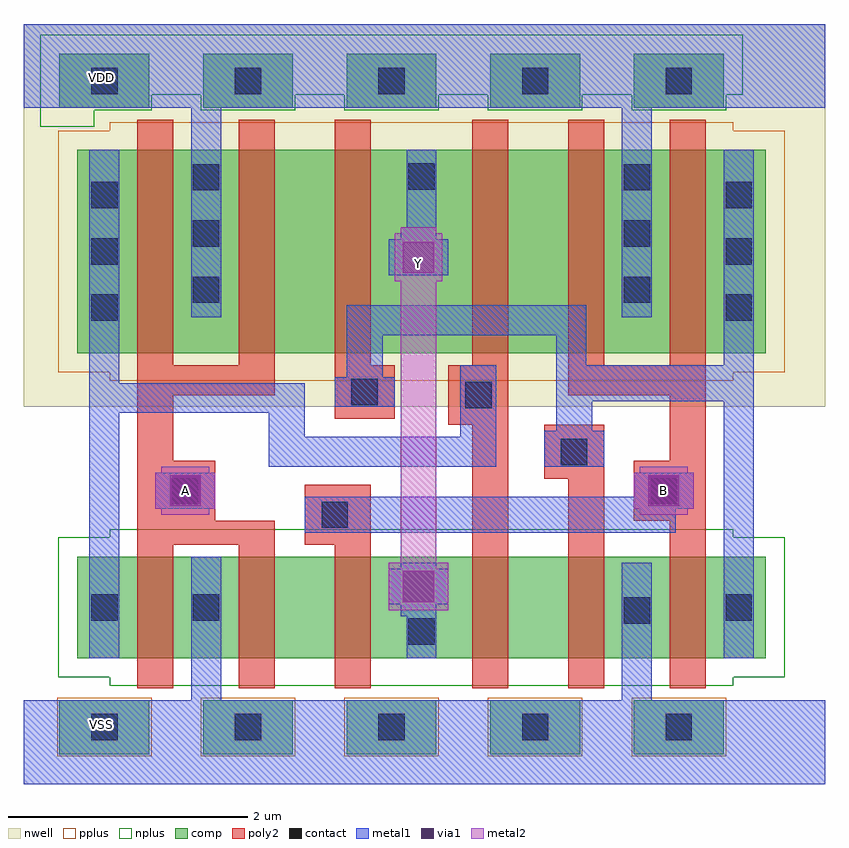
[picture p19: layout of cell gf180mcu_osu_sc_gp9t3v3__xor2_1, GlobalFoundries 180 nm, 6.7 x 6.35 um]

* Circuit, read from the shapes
.subckt gf180mcu_osu_sc_gp9t3v3__xor2_1 A B VDD VSS Y
XM1 VSS A n1 VSS nfet_03v3 w=0.85u l=0.3u
XM2 n2 A VSS VSS nfet_03v3 w=0.85u l=0.3u
XM3 Y B n2 VSS nfet_03v3 w=0.85u l=0.3u
XM4 n3 n1 Y VSS nfet_03v3 w=0.85u l=0.3u
XM5 VSS n4 n3 VSS nfet_03v3 w=0.85u l=0.3u
XM6 n4 B VSS VSS nfet_03v3 w=0.85u l=0.3u
XM7 VDD A n1 VDD pfet_03v3 w=1.7u l=0.3u
XM8 n5 A VDD VDD pfet_03v3 w=1.7u l=0.3u
XM9 Y n4 n5 VDD pfet_03v3 w=1.7u l=0.3u
XM10 n6 n1 Y VDD pfet_03v3 w=1.7u l=0.3u
XM11 VDD B n6 VDD pfet_03v3 w=1.7u l=0.3u
XM12 n4 B VDD VDD pfet_03v3 w=1.7u l=0.3u
.ends

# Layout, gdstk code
import gdstk
lib = gdstk.Library(unit=1e-6, precision=1e-09)
def R(c, l, rs):  # rectangles x0, y0, x1, y1
    for r in rs: c.add(gdstk.rectangle(r[:2], r[2:], *l))
def A(c, l, x, y, w, h, nx, ny, dx, dy):  # array of equal rectangles
    R(c, l, [(x+i*dx, y+j*dy, x+i*dx+w, y+j*dy+h) for i in range(nx) for j in range(ny)])
nwell = (21, 0)
comp = (22, 0)
poly2 = (30, 0)
pplus = (31, 0)
nplus = (32, 0)
contact = (33, 0)
metal1 = (34, 0)
via1 = (35, 0)
metal2 = (36, 0)

gf180mcu_osu_sc_gp9t3v3_ = lib.new_cell('gf180mcu_osu_sc_gp9t3v3__xor2_1')
R(gf180mcu_osu_sc_gp9t3v3_, nwell, [(0,3.15,6.7,6.35)])
A(gf180mcu_osu_sc_gp9t3v3_, comp, 0.3, 0.25, 0.75, 0.45, 5, 2, 1.2, 5.4)
R(gf180mcu_osu_sc_gp9t3v3_, comp, [(0.45,1.05,6.2,1.9), (0.45,3.6,6.2,5.3)])
R(gf180mcu_osu_sc_gp9t3v3_, poly2, [(0.95,0.8,1.25,2), (1.8,0.8,2.1,2), (2.6,0.8,2.9,2), (3.75,0.8,4.05,3), (4.55,0.8,4.85,2.55), (5.4,0.8,5.7,2.2), (0.95,2,2.1,2.2), (2.35,2,2.9,2.5), (0.95,2.2,1.6,2.7), (5.1,2.2,5.7,2.7), (4.35,2.55,4.85,3), (0.95,2.7,1.25,3.25), (5.4,2.7,5.7,3.25), (3.55,3,4.05,3.5), (2.6,3.05,3.1,3.5), (0.95,3.25,2.1,3.5), (4.55,3.25,5.7,3.5), (0.95,3.5,1.25,5.55), (1.8,3.5,2.1,5.55), (2.6,3.5,2.9,5.55), (3.75,3.5,4.05,5.55), (4.55,3.5,4.85,5.55), (5.4,3.5,5.7,5.55)])
A(gf180mcu_osu_sc_gp9t3v3_, pplus, 0.28, 0.23, 0.79, 0.49, 5, 1, 1.2, 0)
R(gf180mcu_osu_sc_gp9t3v3_, pplus, [(0.72,3.37,5.93,3.44), (0.29,3.44,6.36,5.46), (0.72,5.46,5.93,5.53)])
A(gf180mcu_osu_sc_gp9t3v3_, nplus, 1.48, 5.63, 0.79, 0.13, 4, 1, 1.2, 0)
R(gf180mcu_osu_sc_gp9t3v3_, nplus, [(0.72,0.82,5.93,0.89), (0.29,0.89,6.36,2.06), (0.72,2.06,5.93,2.13), (0.14,5.49,0.59,5.63), (0.14,5.63,1.07,5.76), (0.14,5.76,6.01,6.26)])
A(gf180mcu_osu_sc_gp9t3v3_, contact, 0.565, 0.365, 0.22, 0.22, 5, 2, 1.2, 5.4)
A(gf180mcu_osu_sc_gp9t3v3_, contact, 0.565, 3.87, 0.22, 0.22, 1, 3, 0, 0.47)
A(gf180mcu_osu_sc_gp9t3v3_, contact, 5.865, 3.87, 0.22, 0.22, 1, 3, 0, 0.47)
A(gf180mcu_osu_sc_gp9t3v3_, contact, 1.415, 4.02, 0.22, 0.22, 1, 3, 0, 0.47)
A(gf180mcu_osu_sc_gp9t3v3_, contact, 5.015, 4.02, 0.22, 0.22, 1, 3, 0, 0.47)
R(gf180mcu_osu_sc_gp9t3v3_, contact, [(3.215,1.165,3.435,1.385), (5.015,1.34,5.235,1.56), (0.565,1.365,0.785,1.585), (1.415,1.365,1.635,1.585), (5.865,1.365,6.085,1.585), (2.49,2.14,2.71,2.36), (1.24,2.34,1.46,2.56), (5.24,2.34,5.46,2.56), (4.49,2.665,4.71,2.885), (3.69,3.14,3.91,3.36), (2.74,3.165,2.96,3.385), (3.215,4.965,3.435,5.185)])
R(gf180mcu_osu_sc_gp9t3v3_, metal1, [(0,0,6.7,0.7), (1.4,0.7,1.65,1.9), (5,0.7,5.25,1.85), (0.55,1.05,0.8,3.1), (3.2,1.05,3.45,1.4), (5.85,1.05,6.1,3.2), (3.15,1.4,3.45,1.5), (3.05,1.5,3.55,1.8), (3.15,1.8,3.45,1.85), (2.35,2.1,5.45,2.3), (1.1,2.3,1.6,2.6), (2.35,2.3,5.6,2.4), (5.1,2.4,5.6,2.6), (2.05,2.65,3.95,2.9), (4.35,2.65,4.85,2.95), (2.05,2.9,2.35,3.1), (3.65,2.9,3.95,3.5), (4.45,2.95,4.75,3.2), (0.55,3.1,2.35,3.35), (2.6,3.15,3.1,3.4), (4.45,3.2,6.1,3.5), (0.55,3.35,0.8,5.3), (2.7,3.4,3,3.75), (4.45,3.5,4.7,3.75), (5.85,3.5,6.1,5.3), (2.7,3.75,4.7,4), (1.4,3.9,1.65,5.65), (5,3.9,5.25,5.65), (3.05,4.25,3.55,4.55), (3.15,4.55,3.45,4.65), (3.2,4.65,3.45,5.3), (0,5.65,6.7,6.35)])
R(gf180mcu_osu_sc_gp9t3v3_, via1, [(3.17,1.52,3.43,1.78), (1.22,2.32,1.48,2.58), (5.22,2.32,5.48,2.58), (3.17,4.27,3.43,4.53)])
R(gf180mcu_osu_sc_gp9t3v3_, metal2, [(3.05,1.45,3.55,1.85), (3.15,1.85,3.45,4.2), (1.15,2.25,1.55,2.3), (5.15,2.25,5.55,2.3), (1.1,2.3,1.6,2.6), (5.1,2.3,5.6,2.6), (1.15,2.6,1.55,2.65), (5.15,2.6,5.55,2.65), (3.1,4.2,3.5,4.6), (3.15,4.6,3.45,4.65)])
gf180mcu_osu_sc_gp9t3v3_.add(gdstk.Label('VDD', (0.65,5.9), layer=34, texttype=10))
gf180mcu_osu_sc_gp9t3v3_.add(gdstk.Label('VSS', (0.65,0.5), layer=34, texttype=10))
gf180mcu_osu_sc_gp9t3v3_.add(gdstk.Label('A', (1.35,2.45), layer=36, texttype=10))
gf180mcu_osu_sc_gp9t3v3_.add(gdstk.Label('B', (5.35,2.45), layer=36, texttype=10))
gf180mcu_osu_sc_gp9t3v3_.add(gdstk.Label('Y', (3.3,4.35), layer=36, texttype=10))

lib.write_gds('gf180mcu_osu_sc_gp9t3v3__xor2_1.gds')
